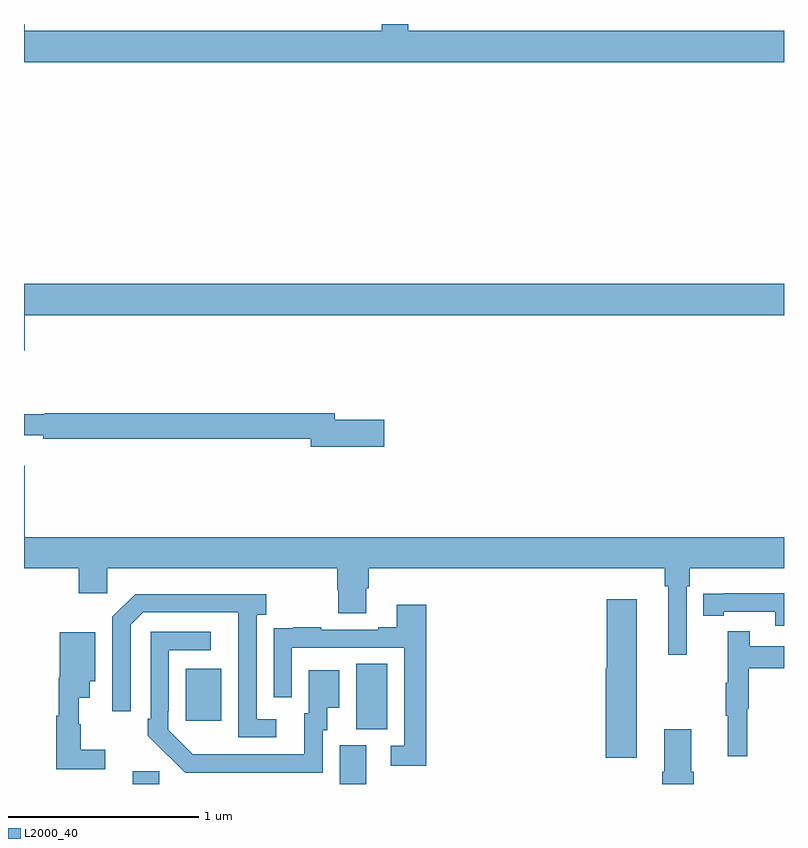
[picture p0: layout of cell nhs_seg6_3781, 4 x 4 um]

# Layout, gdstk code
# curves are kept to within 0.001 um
import gdstk
lib = gdstk.Library(unit=1e-6, precision=1e-09)
def R(c, l, rs):  # rectangles x0, y0, x1, y1
    for r in rs: c.add(gdstk.rectangle(r[:2], r[2:], *l))
def P(c, l, *ps):  # polygons
    for p in ps: c.add(gdstk.Polygon(p, *l))
L2000_40 = (2000, 40)

nhs_seg6_3781 = lib.new_cell('nhs_seg6_3781')
R(nhs_seg6_3781, L2000_40, [(333.572,979.5,333.711,979.566), (334.661,979.5,334.801,979.704), (334.748,979.789,334.912,980.132), (333.851,979.833,334.039,980.107)])
P(nhs_seg6_3781, L2000_40, [(337,983.464),(335.023,983.464),(335.023,983.5),(334.883,983.5),(334.883,983.464),(333.004,983.464),(333.004,983.5),(333,983.5),(333,983.3),(337,983.3)],
  [(333.004,981.968),(337,981.968),(337,982.132),(333,982.132),(333,981.78),(333.004,981.78)],
  [(334.897,981.416),(334.636,981.416),(334.636,981.452),(333.11,981.452),(333.11,981.445),(333,981.445),(333,981.335),(333.1,981.335),(333.1,981.316),(334.508,981.316),(334.508,981.274),(334.897,981.274)],
  [(336.489,980.54),(336.503,980.54),(336.503,980.636),(337,980.636),(337,980.8),(333.004,980.8),(333.004,981.175),(333,981.175),(333,980.636),(333.287,980.636),(333.287,980.505),(333.438,980.505),(333.438,980.636),(334.649,980.636),(334.649,980.523),(334.654,980.523),(334.654,980.398),(334.801,980.398),(334.801,980.53),(334.814,980.53),(334.814,980.636),(336.373,980.636),(336.373,980.54),(336.392,980.54),(336.392,980.181),(336.489,980.181)],
  [(337,980.503),(336.682,980.503),(336.682,980.502),(336.574,980.502),(336.574,980.386),(336.682,980.386),(336.682,980.406),(336.954,980.406),(336.954,980.334),(337,980.334)],
  [(334.327,979.842),(334.224,979.842),(334.224,980.39),(334.276,980.39),(334.276,980.5),(333.586,980.5),(333.465,980.379),(333.465,979.884),(333.561,979.884),(333.561,980.337),(333.627,980.403),(334.127,980.403),(334.128,979.746),(334.327,979.746)],
  [(336.226,980.473),(336.068,980.473),(336.068,980.109),(336.062,980.109),(336.062,979.638),(336.226,979.638)],
  [(335.117,980.443),(334.961,980.443),(334.961,980.326),(334.865,980.326),(334.865,980.313),(334.565,980.313),(334.565,980.326),(334.417,980.326),(334.417,980.319),(334.315,980.319),(334.315,980.21),(334.314,980.21),(334.314,979.956),(334.41,979.956),(334.41,980.217),(335.001,980.217),(335.001,979.701),(334.929,979.701),(334.929,979.596),(335.117,979.596)],
  [(336.806,979.896),(336.814,979.896),(336.814,980.11),(337,980.11),(337,980.226),(336.821,980.226),(336.821,980.305),(336.704,980.305),(336.704,980.033),(336.693,980.033),(336.693,979.859),(336.704,979.859),(336.704,979.647),(336.806,979.647)],
  [(334.572,979.782),(334.597,979.782),(334.597,979.901),(334.66,979.901),(334.66,980.098),(334.499,980.098),(334.499,979.872),(334.475,979.872),(334.475,979.656),(333.888,979.657),(333.759,979.785),(333.759,979.885),(333.762,979.885),(333.762,980.205),(333.982,980.205),(333.982,980.301),(333.666,980.301),(333.666,979.843),(333.651,979.843),(333.651,979.755),(333.848,979.56),(334.572,979.56)],
  [(333.427,979.679),(333.298,979.679),(333.298,979.815),(333.287,979.815),(333.287,979.955),(333.346,979.955),(333.346,980.042),(333.376,980.042),(333.376,980.299),(333.188,980.299),(333.188,980.059),(333.184,980.059),(333.184,979.859),(333.169,979.859),(333.169,979.578),(333.427,979.578)],
  [(336.524,979.564),(336.511,979.564),(336.511,979.789),(336.371,979.789),(336.371,979.564),(336.359,979.564),(336.359,979.5),(336.524,979.5)])

lib.write_gds('nhs_seg6_3781.gds')
